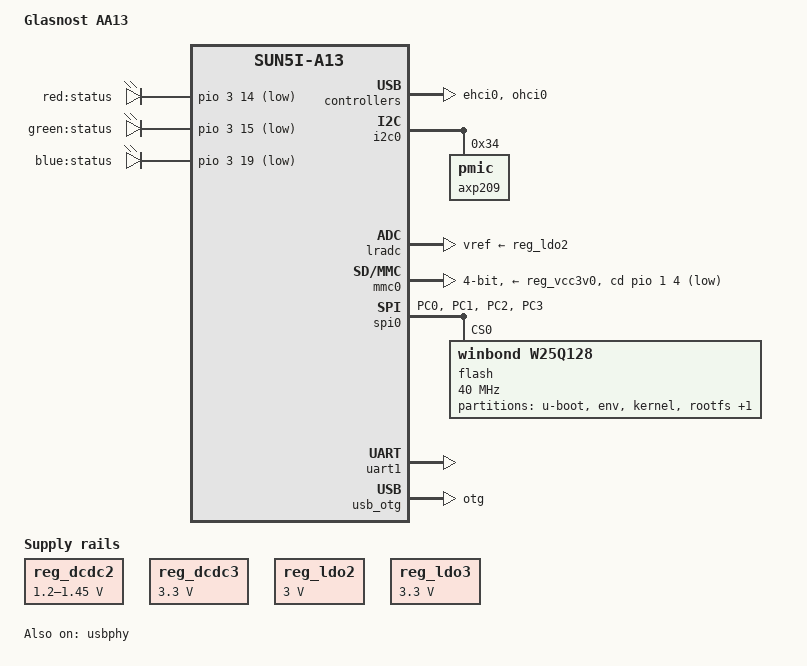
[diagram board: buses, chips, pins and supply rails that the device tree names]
/*
 * Copyright 2015 Hans de Goede <hdegoede@redhat.com>
 * Copyright 2025 vd-rd
 *
 * This file is dual-licensed: you can use it either under the terms
 * of the GPL or the X11 license, at your option. Note that this dual
 * licensing only applies to this file, and not this project as a
 * whole.
 *
 *  a) This file is free software; you can redistribute it and/or
 *     modify it under the terms of the GNU General Public License as
 *     published by the Free Software Foundation; either version 2 of the
 *     License, or (at your option) any later version.
 *
 *     This file is distributed in the hope that it will be useful,
 *     but WITHOUT ANY WARRANTY; without even the implied warranty of
 *     MERCHANTABILITY or FITNESS FOR A PARTICULAR PURPOSE.  See the
 *     GNU General Public License for more details.
 *
 * Or, alternatively,
 *
 *  b) Permission is hereby granted, free of charge, to any person
 *     obtaining a copy of this software and associated documentation
 *     files (the "Software"), to deal in the Software without
 *     restriction, including without limitation the rights to use,
 *     copy, modify, merge, publish, distribute, sublicense, and/or
 *     sell copies of the Software, and to permit persons to whom the
 *     Software is furnished to do so, subject to the following
 *     conditions:
 *
 *     The above copyright notice and this permission notice shall be
 *     included in all copies or substantial portions of the Software.
 *
 *     THE SOFTWARE IS PROVIDED "AS IS", WITHOUT WARRANTY OF ANY KIND,
 *     EXPRESS OR IMPLIED, INCLUDING BUT NOT LIMITED TO THE WARRANTIES
 *     OF MERCHANTABILITY, FITNESS FOR A PARTICULAR PURPOSE AND
 *     NONINFRINGEMENT. IN NO EVENT SHALL THE AUTHORS OR COPYRIGHT
 *     HOLDERS BE LIABLE FOR ANY CLAIM, DAMAGES OR OTHER LIABILITY,
 *     WHETHER IN AN ACTION OF CONTRACT, TORT OR OTHERWISE, ARISING
 *     FROM, OUT OF OR IN CONNECTION WITH THE SOFTWARE OR THE USE OR
 *     OTHER DEALINGS IN THE SOFTWARE.
 */

/dts-v1/;
#include "sun5i-a13.dtsi"

#include <dt-bindings/interrupt-controller/irq.h>
#include <dt-bindings/pwm/pwm.h>
#include <dt-bindings/gpio/gpio.h>
#include <dt-bindings/input/input.h>
#include <dt-bindings/leds/common.h>
#include "sunxi-common-regulators.dtsi"

/ {
	model = "Glasnost AA13";
	compatible = "vd-rd,glasnost-aa13", "allwinner,sun5i-a13";

    aliases {
		serial0 = &uart1;
		led-boot = &led_blue;
		led-failsafe = &led_red;
		led-running = &led_green;
	};

    chosen {
		stdout-path = "serial0:115200n8";
	};

    leds {
        compatible = "gpio-leds";
        
        led_red: led-red {
            label = "red:status";
            gpios = <&pio 3 14 GPIO_ACTIVE_LOW>; /* PC14 */
        };
        led_green: led-green {
            label = "green:status";
            gpios = <&pio 3 15 GPIO_ACTIVE_LOW>; /* PC15 */
        };
        led_blue: led-blue {
            label = "blue:status";
            gpios = <&pio 3 19 GPIO_ACTIVE_LOW>; /* PC19 */
        };
    };

    config {
        bootdelay = <2>;
        u-boot,boot-led = "blue:status";
        u-boot,error-led = "red:status";
        u-boot,mmc-env-partition = <1>;
    };
};

&cpu0 {
	cpu-supply = <&reg_dcdc2>;
};

&ehci0 {
	status = "okay";
};

&ohci0 {
	status = "okay";
};

&i2c0 {
    pinctrl-names = "default";
	pinctrl-0 = <&i2c0_pins>;
	status = "okay";
	axp209: pmic@34 {
		reg = <0x34>;
		interrupts = <0>;
	};
};

#include "axp209.dtsi"

&ac_power_supply {
	status = "okay";
};

&battery_power_supply {
	status = "okay";
};

&lradc {
	vref-supply = <&reg_ldo2>;
    status = "okay";

	button-user {
		label = "User Button";
		linux,code = <KEY_VOLUMEUP>;
		channel = <0>;
		voltage = <200000>;
	};
};

&reg_dcdc2 {
	regulator-always-on;
	regulator-min-microvolt = <1200000>;
	regulator-max-microvolt = <1450000>;
	regulator-name = "vdd-cpu";
};

&reg_dcdc3 {
	regulator-always-on;
	regulator-min-microvolt = <3300000>;
	regulator-max-microvolt = <3300000>;
	regulator-name = "vdd-io";
};

&reg_ldo1 {
	regulator-name = "vdd-rtc";
};

&reg_ldo2 {
	regulator-always-on;
	regulator-min-microvolt = <3000000>;
	regulator-max-microvolt = <3000000>;
	regulator-name = "avcc";
};

&reg_ldo3 {
	regulator-min-microvolt = <3300000>;
	regulator-max-microvolt = <3300000>;
	regulator-name = "vcc-wifi";
};

&reg_usb0_vbus {
	gpio = <&pio 6 12 GPIO_ACTIVE_HIGH>; /* PG12 */
	status = "okay";
};


&mmc0 {
	pinctrl-names = "default";
	pinctrl-0 = <&mmc0_pins>;
	vmmc-supply = <&reg_vcc3v0>;
	bus-width = <4>;
	cd-gpios = <&pio 1 4 (GPIO_ACTIVE_LOW | GPIO_PULL_UP)>; /* PB4 */
	status = "okay";
};

&spi0 {
    pinctrl-names = "default";
	pinctrl-0 = <&spi0_pc_pins &spi0_cs0_pc_pin>;
    status = "okay";

    flash@0 {
        #address-cells = <1>;
        #size-cells = <1>;
        compatible = "winbond,w25q128", "jedec,spi-nor";
        reg = <0>;
        spi-max-frequency = <40000000>;

        partitions {
            compatible = "fixed-partitions";
            #address-cells = <1>;
            #size-cells = <1>;

            partition@0 {
                label = "u-boot";
				reg = <0x0 0x80000>;        /* 512 KB */
            };

			partition@80000 {
                label = "env";
				reg = <0x80000 0x20000>;    /* 128 KB */
            };

			partition@a0000 {
                label = "kernel";
				reg = <0xa0000 0x400000>;   /* 4 MB */
            };

			partition@4a0000 {
                label = "rootfs";
				reg = <0x4a0000 0x800000>;  /* 8 MB */
            };

            partition@ca0000 {
                label = "userdata";
                reg = <0xca0000 0x360000>;  /* ~3.4 MB */
            };
        };
    };
};

&otg_sram {
	status = "okay";
};

&uart1 {
	pinctrl-names = "default";
	pinctrl-0 = <&uart1_pg_pins>;
	status = "okay";
};

&usb_otg {
	dr_mode = "otg";
	status = "okay";
};

&usb_power_supply {
	status = "okay";
};

&usbphy {
	usb0_id_det-gpios = <&pio 6 11 (GPIO_ACTIVE_LOW | GPIO_PULL_UP)>; /* PG11 */
	// usb0_vbus_det-gpios = <&pio 6 1 (GPIO_ACTIVE_HIGH | GPIO_PULL_DOWN)>; /* PG1 */
	usb0_vbus_power-supply = <&usb_power_supply>;
	usb0_vbus-supply = <&reg_usb0_vbus>;
	usb1_vbus-supply = <&reg_ldo3>;
	status = "okay";
};

&pio {
	spi0_pc_pins: spi0-pc-pins {
		pins = "PC0", "PC1", "PC2";
		function = "spi0";
	};

	spi0_cs0_pc_pin: spi0-cs0-pc-pin {
		pins = "PC3";
		function = "spi0";
	};
};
